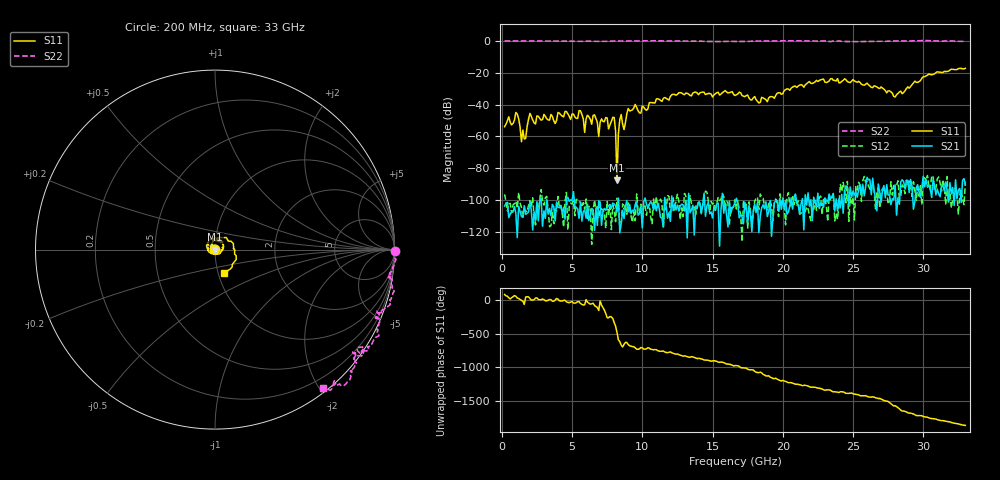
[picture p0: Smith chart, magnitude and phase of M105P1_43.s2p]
# GHZ S RI R 50
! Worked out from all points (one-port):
!   329 points, 200 MHz to 33 GHz, reference 50 ohm
!   lowest |S11| = -87.7 dB at 8.2 GHz (marker M1), VSWR 1.00, Z = 50 - j0.0036 ohm
!   |S11| at or under -10 dB: start of sweep to end of sweep
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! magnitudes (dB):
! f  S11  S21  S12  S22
! 200 MHz  -53.9  -103.9  -96.5  0.0
! 1 GHz  -45.0  -108.4  -100.8  0.0
! 1.4 GHz  -63.4  -110.4  -104.8  0.0
! 2 GHz  -45.5  -101.4  -100.5  0.1
! 5.7 GHz  -46.1  -113.4  -104.6  -0.2
! 5.9 GHz  -57.6  -106.4  -106.1  -0.2
! 6.1 GHz  -46.7  -102.7  -111.9  -0.1
! 6.6 GHz  -46.4  -119.2  -100.3  -0.2
! 6.9 GHz  -60.1  -100.6  -111.6  -0.2
! 7.1 GHz  -49.0  -116.0  -106.1  -0.1
! 8 GHz  -48.2  -102.6  -106.4  0.0
! 8.1 GHz  -56.6  -103.7  -113.8  0.0
! 8.2 GHz  -87.7  -107.6  -98.9  0.0
! 8.3 GHz  -58.3  -98.9  -101.5  0.0
! 8.5 GHz  -46.3  -115.0  -114.9  0.0
! 8.7 GHz  -55.8  -111.7  -105.8  0.0
! 9 GHz  -42.4  -107.5  -102.0  0.0
! 11.2 GHz  -36.7  -105.1  -101.8  0.2
! 16.6 GHz  -34.3  -102.1  -99.9  -0.3
! 22.1 GHz  -26.8  -113.1  -106.1  0.1
! 27.6 GHz  -31.4  -97.1  -100.6  0.0
! 33 GHz  -17.2  -90.4  -88.4  -0.2
